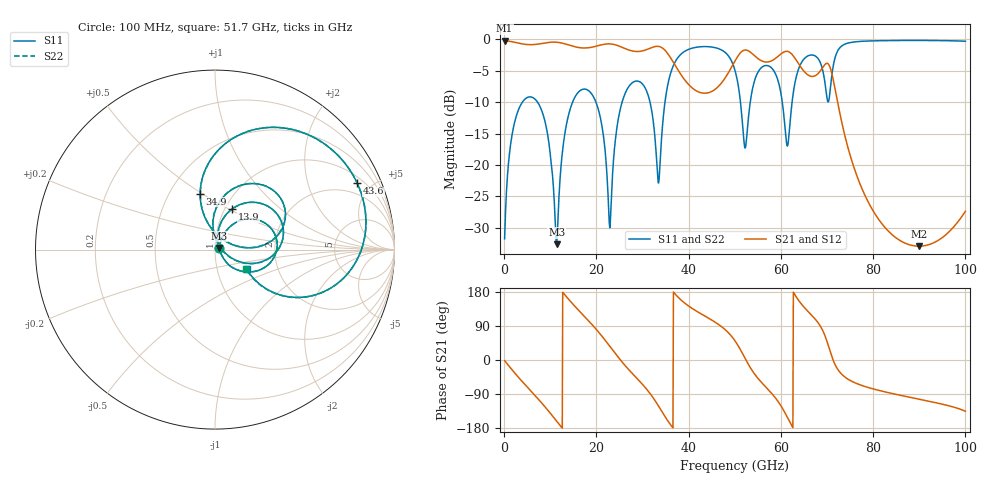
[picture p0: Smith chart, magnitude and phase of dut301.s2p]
! Touchstone file exported from HFSS 2026.1.0
!  File:  C:/ffzhzh/LocalFiles/Ansys_Project_Files/temp_train_TSV_RDL_301_1783696291_44652.aedt
!  Generated:  11:20:17 PM Jul 10, 2026
!  Design:  TSV_RDL
!  Project:  temp_train_TSV_RDL_301_1783696291_44652
! Variables:
!  h_bsmrdl = 3.56um
!  h_ox = 20um
!  h_rdl = 5um
!  h_sub = 92.18um
!  h_tmrdl = 3.59um
!  h_tsv = 92.18um
!  h_via = 3um
!  l_bsmrdl = 624.76um
!  l_sub = 4244.31um
!  l_tmrdl = 463.46um
!  m_sub = 200um
!  pitch = 40.43um
!  r_tsv = 13.68um
!  s_tmrdl = 10um
!  w_bsmrdl = 26.51um
!  w_sub = 500um
!  w_tmrdl = 12.22um
!  x_tsv_center1 = 469.57um
!  x_tsv_center2 = 1120.84um
!  x_tsv_center3 = 1596.52um
!  x_tsv_center4 = 2247.79um
!  x_tsv_center5 = 2723.47um
!  x_tsv_center6 = 3374.74um
# GHz S MA R 50.000000
! Terminal data exported
! Port[1] = TM_RDL1_1_T1
! Port[2] = TM_RDL5_1_T1
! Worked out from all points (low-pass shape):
!   1000 points, 100 MHz to 100 GHz, reference 50 ohm
!   highest |S21| = -0.20 dB at 100 MHz (marker M1); lowest = -32.9 dB at 89.9 GHz (marker M2)
!   |S21| within 3 dB of the highest: start of sweep to 36.3 GHz; 50.25 GHz to 55.26 GHz (5.014 GHz wide, 9.5 % of centre) (the widest 2 of 3)
!   lowest |S11| = -32.6 dB at 11.4 GHz (marker M3), VSWR 1.05, Z = 52.2 + j1.01 ohm
!   |S11| at or under -10 dB: start of sweep to 3.959 GHz; 7.232 GHz to 14.84 GHz (7.612 GHz wide, 69 % of centre); 19.89 GHz to 25.57 GHz (5.679 GHz wide, 25 % of centre) (the widest 3 of 6)
!   |S22| runs from -32.4 to -0.2 dB; largest |S21 - S12| = 4.7e-13
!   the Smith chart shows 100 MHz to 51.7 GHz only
!   S11 on the Smith chart (normalised r, x): 100 MHz: 1.05, +0.02; 13.9 GHz: 1.08, +0.52; 34.9 GHz: 0.71, +0.49; 43.6 GHz: 1.31, +4.11; 51.7 GHz: 1.39, -0.31
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0.1  0.02583 26.3  0.9771 -1.6  0.9771 -1.6  0.02583 26.3
! Gamma 0 0 0 0
! Port Impedance 50 0 50 0
2  0.1973 51.5  0.9511 -30.1  0.9511 -30.1  0.1973 51.5
5.6  0.348 7.2  0.9055 -79.2  0.9055 -79.2  0.348 7.2
11.4  0.0234 24.5  0.9469 -161.7  0.9469 -161.7  0.02403 24.7
13.9  0.2445 67.4  0.9025 161.3  0.9025 161.3  0.2446 67.2
16.8  0.3969 31.1  0.8535 122.7  0.8535 122.7  0.3969 30.9
22.9  0.0316 33.6  0.9185 36.3  0.9185 36.3  0.02988 33.4
24.8  0.2381 87.6  0.8856 6.3  0.8856 6.3  0.2378 88.0
30.1  0.4358 25.6  0.8099 -65.8  0.8099 -65.8  0.4356 25.9
33.4  0.0722 46.1  0.8779 -120.1  0.8779 -120.1  0.07351 46.6
34.9  0.3227 104.9  0.8153 -149.7  0.8153 -149.7  0.3234 104.7
43.6  0.8744 25.0  0.3721 115.4  0.3721 115.4  0.8745 25.0
50.1  0.5564 -28.4  0.6772 49.8  0.6772 49.8  0.5562 -28.6
51.7  0.207 -31.6  0.8081 16.6  0.8081 16.6  0.2055 -32.1
54.6  0.5057 39.2  0.7222 -41.9  0.7222 -41.9  0.5053 39.6
59.2  0.4907 -7.7  0.7223 -106.2  0.7223 -106.2  0.4916 -7.1
62.2  0.2653 67.1  0.7719 -169.7  0.7719 -169.7  0.2693 65.9
66.7  0.7494 27.6  0.5059 117.7  0.5059 117.7  0.7496 27.2
70.7  0.3987 53.4  0.5918 21.6  0.5918 21.6  0.3949 53.7
83.4  0.9758 0.3  0.02949 -86.5  0.02949 -86.5  0.9758 0.3
89.9  0.9781 -14.0  0.02258 -103.3  0.02258 -103.3  0.9781 -14.0
100  0.9646 -40.2  0.04279 -135.2  0.04279 -135.2  0.9646 -40.1
